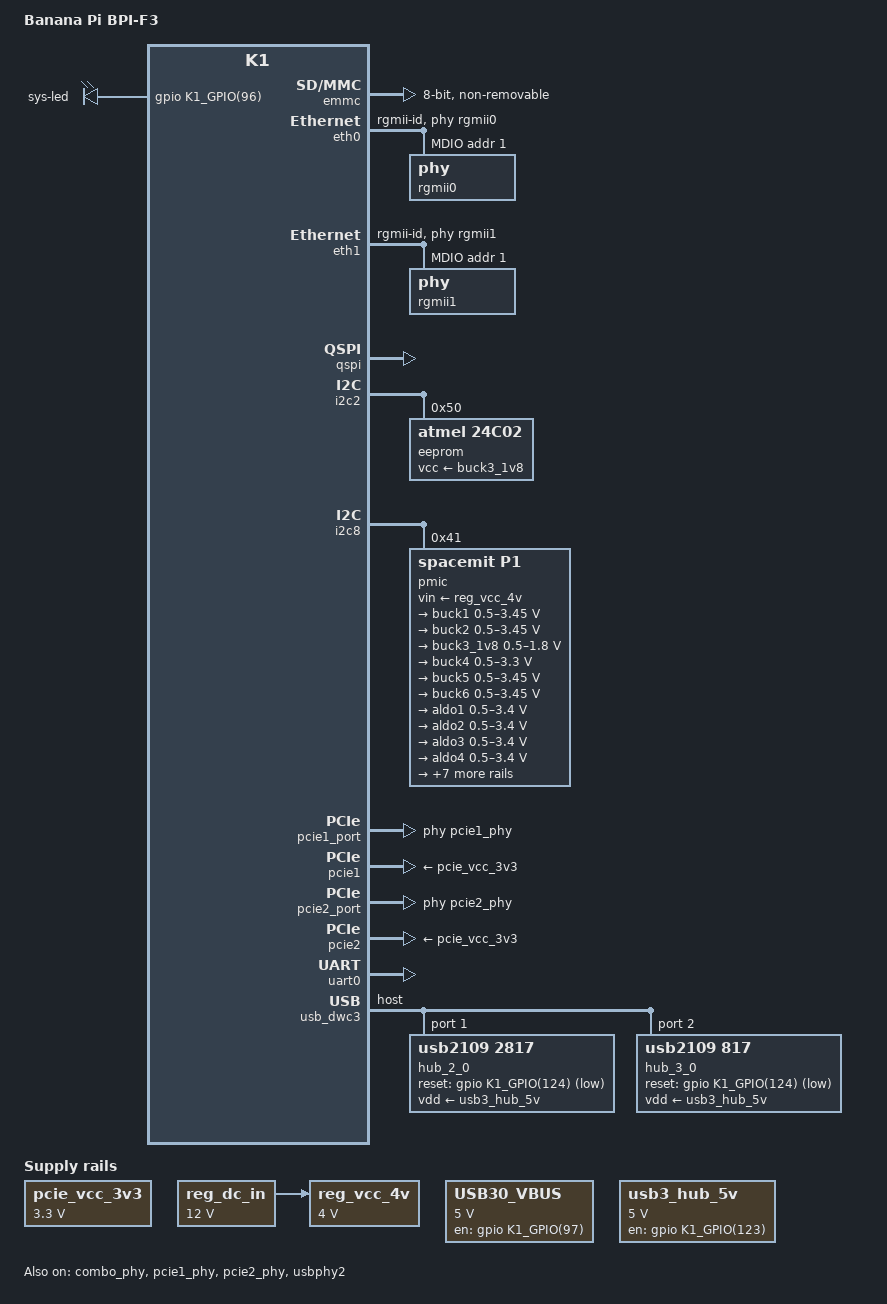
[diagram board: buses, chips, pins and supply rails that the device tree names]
// SPDX-License-Identifier: GPL-2.0 OR MIT
/*
 * Copyright (C) 2024 Yangyu Chen <cyy@cyyself.name>
 */

#include "k1.dtsi"
#include "k1-pinctrl.dtsi"

/ {
	model = "Banana Pi BPI-F3";
	compatible = "bananapi,bpi-f3", "spacemit,k1";

	aliases {
		ethernet0 = &eth0;
		ethernet1 = &eth1;
		serial0 = &uart0;
		i2c2 = &i2c2;
		i2c8 = &i2c8;
	};

	chosen {
		stdout-path = "serial0";
	};

	leds {
		compatible = "gpio-leds";

		led1 {
			label = "sys-led";
			gpios = <&gpio K1_GPIO(96) GPIO_ACTIVE_HIGH>;
			linux,default-trigger = "heartbeat";
			default-state = "on";
		};
	};

	pcie_vcc_3v3: pcie-vcc3v3 {
		compatible = "regulator-fixed";
		regulator-name = "PCIE_VCC3V3";
		regulator-min-microvolt = <3300000>;
		regulator-max-microvolt = <3300000>;
		regulator-always-on;
	};

	reg_dc_in: dc-in-12v {
		compatible = "regulator-fixed";
		regulator-name = "dc_in_12v";
		regulator-min-microvolt = <12000000>;
		regulator-max-microvolt = <12000000>;
		regulator-boot-on;
		regulator-always-on;
	};

	reg_vcc_4v: vcc-4v {
		compatible = "regulator-fixed";
		regulator-name = "vcc_4v";
		regulator-min-microvolt = <4000000>;
		regulator-max-microvolt = <4000000>;
		regulator-boot-on;
		regulator-always-on;
		vin-supply = <&reg_dc_in>;
	};

	usb3-vbus-5v {
		compatible = "regulator-fixed";
		regulator-name = "USB30_VBUS";
		regulator-min-microvolt = <5000000>;
		regulator-max-microvolt = <5000000>;
		regulator-always-on;
		gpio = <&gpio K1_GPIO(97) GPIO_ACTIVE_HIGH>;
		enable-active-high;
	};

	usb3_hub_5v: usb3-hub-5v {
		compatible = "regulator-fixed";
		regulator-name = "USB30_HUB";
		regulator-min-microvolt = <5000000>;
		regulator-max-microvolt = <5000000>;
		gpio = <&gpio K1_GPIO(123) GPIO_ACTIVE_HIGH>;
		enable-active-high;
	};
};

&combo_phy {
	pinctrl-names = "default";
	pinctrl-0 = <&pcie0_3_cfg>;
	status = "okay";
};

&emmc {
	bus-width = <8>;
	mmc-hs400-1_8v;
	mmc-hs400-enhanced-strobe;
	non-removable;
	no-sd;
	no-sdio;
	status = "okay";
};

&eth0 {
	phy-handle = <&rgmii0>;
	phy-mode = "rgmii-id";
	pinctrl-names = "default";
	pinctrl-0 = <&gmac0_cfg>;
	rx-internal-delay-ps = <0>;
	tx-internal-delay-ps = <0>;
	status = "okay";

	mdio-bus {
		#address-cells = <0x1>;
		#size-cells = <0x0>;

		reset-gpios = <&gpio K1_GPIO(110) GPIO_ACTIVE_LOW>;
		reset-delay-us = <10000>;
		reset-post-delay-us = <100000>;

		rgmii0: phy@1 {
			reg = <0x1>;
		};
	};
};

&eth1 {
	phy-handle = <&rgmii1>;
	phy-mode = "rgmii-id";
	pinctrl-names = "default";
	pinctrl-0 = <&gmac1_cfg>;
	rx-internal-delay-ps = <0>;
	tx-internal-delay-ps = <250>;
	status = "okay";

	mdio-bus {
		#address-cells = <0x1>;
		#size-cells = <0x0>;

		reset-gpios = <&gpio K1_GPIO(115) GPIO_ACTIVE_LOW>;
		reset-delay-us = <10000>;
		reset-post-delay-us = <100000>;

		rgmii1: phy@1 {
			reg = <0x1>;
		};
	};
};

&pdma {
	status = "okay";
};

&qspi {
	pinctrl-names = "default";
	pinctrl-0 = <&qspi_cfg>;
	status = "okay";
};

&i2c2 {
	pinctrl-0 = <&i2c2_0_cfg>;
	pinctrl-names = "default";
	status = "okay";

	eeprom@50 {
		compatible = "atmel,24c02";
		reg = <0x50>;
		vcc-supply = <&buck3_1v8>; /* EEPROM_VCC1V8 */
		pagesize = <16>;
		read-only;
		size = <256>;

		nvmem-layout {
			compatible = "onie,tlv-layout";

			mac-address {
				#nvmem-cell-cells = <1>;
			};

			num-macs {
			};

			serial-number {
			};
		};
	};
};

&i2c8 {
	pinctrl-0 = <&i2c8_cfg>;
	pinctrl-names = "default";
	status = "okay";

	pmic@41 {
		compatible = "spacemit,p1";
		reg = <0x41>;
		interrupts = <64>;
		vin-supply = <&reg_vcc_4v>;

		regulators {
			buck1 {
				regulator-min-microvolt = <500000>;
				regulator-max-microvolt = <3450000>;
				regulator-ramp-delay = <5000>;
				regulator-always-on;
			};

			buck2 {
				regulator-min-microvolt = <500000>;
				regulator-max-microvolt = <3450000>;
				regulator-ramp-delay = <5000>;
				regulator-always-on;
			};

			buck3_1v8: buck3 {
				regulator-min-microvolt = <500000>;
				regulator-max-microvolt = <1800000>;
				regulator-ramp-delay = <5000>;
				regulator-always-on;
			};

			buck4 {
				regulator-min-microvolt = <500000>;
				regulator-max-microvolt = <3300000>;
				regulator-ramp-delay = <5000>;
				regulator-always-on;
			};

			buck5 {
				regulator-min-microvolt = <500000>;
				regulator-max-microvolt = <3450000>;
				regulator-ramp-delay = <5000>;
				regulator-always-on;
			};

			buck6 {
				regulator-min-microvolt = <500000>;
				regulator-max-microvolt = <3450000>;
				regulator-ramp-delay = <5000>;
				regulator-always-on;
			};

			aldo1 {
				regulator-min-microvolt = <500000>;
				regulator-max-microvolt = <3400000>;
				regulator-boot-on;
			};

			aldo2 {
				regulator-min-microvolt = <500000>;
				regulator-max-microvolt = <3400000>;
			};

			aldo3 {
				regulator-min-microvolt = <500000>;
				regulator-max-microvolt = <3400000>;
			};

			aldo4 {
				regulator-min-microvolt = <500000>;
				regulator-max-microvolt = <3400000>;
			};

			dldo1 {
				regulator-min-microvolt = <500000>;
				regulator-max-microvolt = <3400000>;
				regulator-boot-on;
			};

			dldo2 {
				regulator-min-microvolt = <500000>;
				regulator-max-microvolt = <3400000>;
			};

			dldo3 {
				regulator-min-microvolt = <500000>;
				regulator-max-microvolt = <3400000>;
			};

			dldo4 {
				regulator-min-microvolt = <500000>;
				regulator-max-microvolt = <3400000>;
				regulator-always-on;
			};

			dldo5 {
				regulator-min-microvolt = <500000>;
				regulator-max-microvolt = <3400000>;
			};

			dldo6 {
				regulator-min-microvolt = <500000>;
				regulator-max-microvolt = <3400000>;
				regulator-always-on;
			};

			dldo7 {
				regulator-min-microvolt = <500000>;
				regulator-max-microvolt = <3400000>;
			};
		};
	};
};

&pcie1_phy {
	pinctrl-names = "default";
	pinctrl-0 = <&pcie1_3_cfg>;
	status = "okay";
};

&pcie1_port {
	phys = <&pcie1_phy>;
};

&pcie1 {
	vpcie3v3-supply = <&pcie_vcc_3v3>;
	status = "okay";
};

&pcie2_phy {
	pinctrl-names = "default";
	pinctrl-0 = <&pcie2_4_cfg>;
	status = "okay";
};

&pcie2_port {
	phys = <&pcie2_phy>;
};

&pcie2 {
	vpcie3v3-supply = <&pcie_vcc_3v3>;
	status = "okay";
};

&uart0 {
	pinctrl-names = "default";
	pinctrl-0 = <&uart0_2_cfg>;
	status = "okay";
};

&usbphy2 {
	status = "okay";
};

&usb_dwc3 {
	dr_mode = "host";
	#address-cells = <1>;
	#size-cells = <0>;
	status = "okay";

	hub_2_0: hub@1 {
		compatible = "usb2109,2817";
		reg = <0x1>;
		vdd-supply = <&usb3_hub_5v>;
		peer-hub = <&hub_3_0>;
		reset-gpios = <&gpio K1_GPIO(124) GPIO_ACTIVE_LOW>;
	};

	hub_3_0: hub@2 {
		compatible = "usb2109,817";
		reg = <0x2>;
		vdd-supply = <&usb3_hub_5v>;
		peer-hub = <&hub_2_0>;
		reset-gpios = <&gpio K1_GPIO(124) GPIO_ACTIVE_LOW>;
	};
};
